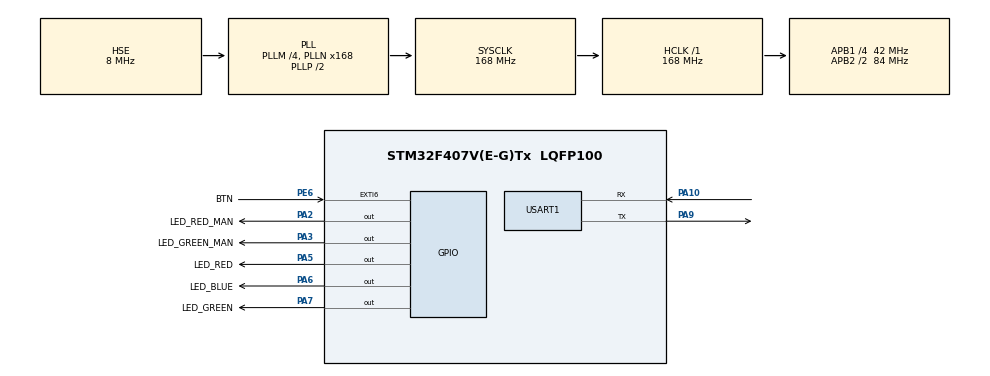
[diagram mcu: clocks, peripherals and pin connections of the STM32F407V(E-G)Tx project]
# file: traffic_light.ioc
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Mcu.Family=STM32F4
Mcu.Name=STM32F407V(E-G)Tx
Mcu.Package=LQFP100
NVIC.EXTI9_5_IRQn=true\:0\:0\:true\:false\:true\:true\:true\:true
NVIC.PriorityGroup=NVIC_PRIORITYGROUP_4
NVIC.USART1_IRQn=true\:0\:0\:false\:false\:true\:true\:true\:true
PA10.Mode=Asynchronous
PA10.Signal=USART1_RX
PA13.Mode=Serial_Wire
PA13.Signal=SYS_JTMS-SWDIO
PA14.Mode=Serial_Wire
PA14.Signal=SYS_JTCK-SWCLK
PA2.GPIO_Label=LED_RED_MAN
PA2.GPIO_PuPd=GPIO_PULLDOWN
PA2.Signal=GPIO_Output
PA3.GPIO_Label=LED_GREEN_MAN
PA3.GPIO_PuPd=GPIO_PULLDOWN
PA3.Signal=GPIO_Output
PA5.GPIO_Label=LED_RED
PA5.GPIO_PuPd=GPIO_PULLDOWN
PA5.Signal=GPIO_Output
PA6.GPIO_Label=LED_BLUE
PA6.GPIO_PuPd=GPIO_PULLDOWN
PA6.Signal=GPIO_Output
PA7.GPIO_Label=LED_GREEN
PA7.GPIO_PuPd=GPIO_PULLDOWN
PA7.Signal=GPIO_Output
PA9.Mode=Asynchronous
PA9.Signal=USART1_TX
PC14-OSC32_IN.Mode=LSE-External-Oscillator
PC14-OSC32_IN.Signal=RCC_OSC32_IN
PC15-OSC32_OUT.Mode=LSE-External-Oscillator
PC15-OSC32_OUT.Signal=RCC_OSC32_OUT
PE6.GPIO_Label=BTN
PE6.Signal=GPXTI6
PH0-OSC_IN.Mode=HSE-External-Oscillator
PH0-OSC_IN.Signal=RCC_OSC_IN
PH1-OSC_OUT.Mode=HSE-External-Oscillator
PH1-OSC_OUT.Signal=RCC_OSC_OUT
ProjectManager.HeapSize=0x200
ProjectManager.StackSize=0x400
ProjectManager.TargetToolchain=STM32CubeIDE
RCC.48MHZClocksFreq_Value=84000000
RCC.AHBFreq_Value=168000000
RCC.APB1CLKDivider=RCC_HCLK_DIV4
RCC.APB1Freq_Value=42000000
RCC.APB1TimFreq_Value=84000000
RCC.APB2CLKDivider=RCC_HCLK_DIV2
RCC.APB2Freq_Value=84000000
RCC.APB2TimFreq_Value=168000000
RCC.CortexFreq_Value=168000000
RCC.HCLKFreq_Value=168000000
RCC.HSE_VALUE=8000000
RCC.HSI_VALUE=16000000
RCC.PLLM=4
RCC.PLLN=168
RCC.PLLSourceVirtual=RCC_PLLSOURCE_HSE
RCC.SYSCLKFreq_VALUE=168000000
RCC.SYSCLKSource=RCC_SYSCLKSOURCE_PLLCLK
RCC.VCOOutputFreq_Value=336000000
USART1.VirtualMode=VM_ASYNC
board=custom

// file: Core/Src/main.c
/* USER CODE BEGIN Header */
/**
  ******************************************************************************
  * @file           : main.c
  * @brief          : Main program body
  ******************************************************************************
  * @attention
  *
  * Copyright (c) 2024 STMicroelectronics.
  * All rights reserved.
  *
  * This software is licensed under terms that can be found in the LICENSE file
  * in the root directory of this software component.
  * If no LICENSE file comes with this software, it is provided AS-IS.
  *
  ******************************************************************************
  */
/* USER CODE END Header */
#include "main.h"

/* USER CODE BEGIN Includes */
#include <stdio.h>
uint8_t TX_data[3];
uint8_t message1 [] = "\n\rService mode enable. \n\r";
uint8_t message2 [] = "\n\rService mode disable. \n\r";
/* USER CODE END Includes */

UART_HandleTypeDef huart1;

/* USER CODE BEGIN PV */
volatile int statusMode = 0;
int serviceMode = 0;
/* USER CODE END PV */

void SystemClock_Config(void);
static void MX_GPIO_Init(void);
static void MX_USART1_UART_Init(void);
/* USER CODE BEGIN PFP */
void semaforStatus1();
void semaforStatus2();
void semaforStatus3();
void semaforStatus4();
void semaforStatus5();
void semaforStatusB();
void semaforStatusAll();

/* USER CODE END PFP */

int main(void)
{

  /* MCU Configuration--------------------------------------------------------*/

  /* Reset of all peripherals, Initializes the Flash interface and the Systick. */
  HAL_Init();

  /* Configure the system clock */
  SystemClock_Config();

  /* Initialize all configured peripherals */
  MX_GPIO_Init();
  MX_USART1_UART_Init();
  /* USER CODE BEGIN 2 */
  HAL_UART_Receive_IT(&huart1, TX_data, 3);
  /* USER CODE END 2 */

  /* Infinite loop */
  while (1)
  {

    /* USER CODE BEGIN 3 */
	  if(serviceMode == 1)
	  {
		  semaforStatusAll();
	  }
	  else
	  {
		  semaforStatus1();
		  semaforStatus2();
		  semaforStatus3();
		  if(statusMode == 1)
		  {
		  	  semaforStatusB();
		  	  statusMode = 0;
		  }
		  else
		  {
		  	  semaforStatus4();
		  }

		  semaforStatus5();
	  }

  }
  /* USER CODE END 3 */
}

void SystemClock_Config(void)
{
  RCC_OscInitTypeDef RCC_OscInitStruct = {0};
  RCC_ClkInitTypeDef RCC_ClkInitStruct = {0};

  /** Configure the main internal regulator output voltage
  */
  __HAL_RCC_PWR_CLK_ENABLE();
  __HAL_PWR_VOLTAGESCALING_CONFIG(PWR_REGULATOR_VOLTAGE_SCALE1);

  /** Initializes the RCC Oscillators according to the specified parameters
  * in the RCC_OscInitTypeDef structure.
  */
  RCC_OscInitStruct.OscillatorType = RCC_OSCILLATORTYPE_HSE;
  RCC_OscInitStruct.HSEState = RCC_HSE_ON;
  RCC_OscInitStruct.PLL.PLLState = RCC_PLL_ON;
  RCC_OscInitStruct.PLL.PLLSource = RCC_PLLSOURCE_HSE;
  RCC_OscInitStruct.PLL.PLLM = 4;
  RCC_OscInitStruct.PLL.PLLN = 168;
  RCC_OscInitStruct.PLL.PLLP = RCC_PLLP_DIV2;
  RCC_OscInitStruct.PLL.PLLQ = 4;
  if (HAL_RCC_OscConfig(&RCC_OscInitStruct) != HAL_OK)
  {
    Error_Handler();
  }

  /** Initializes the CPU, AHB and APB buses clocks
  */
  RCC_ClkInitStruct.ClockType = RCC_CLOCKTYPE_HCLK|RCC_CLOCKTYPE_SYSCLK
                              |RCC_CLOCKTYPE_PCLK1|RCC_CLOCKTYPE_PCLK2;
  RCC_ClkInitStruct.SYSCLKSource = RCC_SYSCLKSOURCE_PLLCLK;
  RCC_ClkInitStruct.AHBCLKDivider = RCC_SYSCLK_DIV1;
  RCC_ClkInitStruct.APB1CLKDivider = RCC_HCLK_DIV4;
  RCC_ClkInitStruct.APB2CLKDivider = RCC_HCLK_DIV2;

  if (HAL_RCC_ClockConfig(&RCC_ClkInitStruct, FLASH_LATENCY_5) != HAL_OK)
  {
    Error_Handler();
  }
}

static void MX_USART1_UART_Init(void)
{

  huart1.Instance = USART1;
  huart1.Init.BaudRate = 115200;
  huart1.Init.WordLength = UART_WORDLENGTH_8B;
  huart1.Init.StopBits = UART_STOPBITS_1;
  huart1.Init.Parity = UART_PARITY_NONE;
  huart1.Init.Mode = UART_MODE_TX_RX;
  huart1.Init.HwFlowCtl = UART_HWCONTROL_NONE;
  huart1.Init.OverSampling = UART_OVERSAMPLING_16;
  if (HAL_UART_Init(&huart1) != HAL_OK)
  {
    Error_Handler();
  }

}

static void MX_GPIO_Init(void)
{
  GPIO_InitTypeDef GPIO_InitStruct = {0};

  /* GPIO Ports Clock Enable */
  __HAL_RCC_GPIOE_CLK_ENABLE();
  __HAL_RCC_GPIOC_CLK_ENABLE();
  __HAL_RCC_GPIOH_CLK_ENABLE();
  __HAL_RCC_GPIOA_CLK_ENABLE();

  /*Configure GPIO pin Output Level */
  HAL_GPIO_WritePin(GPIOA, LED_RED_MAN_Pin|LED_GREEN_MAN_Pin|LED_RED_Pin|LED_BLUE_Pin
                          |LED_GREEN_Pin, GPIO_PIN_RESET);

  /*Configure GPIO pin : BTN_Pin */
  GPIO_InitStruct.Pin = BTN_Pin;
  GPIO_InitStruct.Mode = GPIO_MODE_IT_RISING;
  GPIO_InitStruct.Pull = GPIO_NOPULL;
  HAL_GPIO_Init(BTN_GPIO_Port, &GPIO_InitStruct);

  /*Configure GPIO pins : LED_RED_MAN_Pin LED_GREEN_MAN_Pin LED_RED_Pin LED_BLUE_Pin
                           LED_GREEN_Pin */
  GPIO_InitStruct.Pin = LED_RED_MAN_Pin|LED_GREEN_MAN_Pin|LED_RED_Pin|LED_BLUE_Pin
                          |LED_GREEN_Pin;
  GPIO_InitStruct.Mode = GPIO_MODE_OUTPUT_PP;
  GPIO_InitStruct.Pull = GPIO_PULLDOWN;
  GPIO_InitStruct.Speed = GPIO_SPEED_FREQ_LOW;
  HAL_GPIO_Init(GPIOA, &GPIO_InitStruct);

  /* EXTI interrupt init*/
  HAL_NVIC_SetPriority(EXTI9_5_IRQn, 0, 0);
  HAL_NVIC_EnableIRQ(EXTI9_5_IRQn);

}

/* USER CODE BEGIN 4 */

void HAL_UART_RxCpltCallback(UART_HandleTypeDef *huart)
{
	if(huart->Instance == USART1)
	{
		if(TX_data[0] == '1')
		{
			serviceMode = 1;
			HAL_UART_Transmit_IT(&huart1, message1, 24);
		}
		else if (TX_data[0] == '0')
		{
			serviceMode = 0;
			HAL_UART_Transmit_IT(&huart1, message2, 24);
		}
		else
		{
			HAL_UART_Transmit_IT(&huart1, TX_data, 3);
		}
		HAL_UART_Receive_IT(&huart1, TX_data, 3);
	}
}
void semaforStatus1()
{
	HAL_GPIO_WritePin(GPIOA, LED_RED_Pin, GPIO_PIN_RESET);
	HAL_GPIO_WritePin(GPIOA, LED_BLUE_Pin, GPIO_PIN_RESET);
	HAL_GPIO_WritePin(GPIOA, LED_GREEN_Pin, GPIO_PIN_SET);
	HAL_GPIO_WritePin(GPIOA, LED_RED_MAN_Pin, GPIO_PIN_SET);
	HAL_GPIO_WritePin(GPIOA, LED_GREEN_MAN_Pin, GPIO_PIN_RESET);
	HAL_Delay(2000);
}

void semaforStatus2()
{
    for (int i = 0; i < 3; ++i)
    {
    	HAL_GPIO_WritePin(GPIOA, LED_RED_Pin, GPIO_PIN_RESET);
    	HAL_GPIO_WritePin(GPIOA, LED_BLUE_Pin, GPIO_PIN_RESET);
    	HAL_GPIO_WritePin(GPIOA, LED_GREEN_Pin, GPIO_PIN_RESET);
    	HAL_GPIO_WritePin(GPIOA, LED_RED_MAN_Pin, GPIO_PIN_SET);
    	HAL_GPIO_WritePin(GPIOA, LED_GREEN_MAN_Pin, GPIO_PIN_RESET);
    	HAL_Delay(400);
    	HAL_GPIO_WritePin(GPIOA, LED_RED_Pin, GPIO_PIN_RESET);
    	HAL_GPIO_WritePin(GPIOA, LED_BLUE_Pin, GPIO_PIN_RESET);
    	HAL_GPIO_WritePin(GPIOA, LED_GREEN_Pin, GPIO_PIN_SET);
    	HAL_GPIO_WritePin(GPIOA, LED_RED_MAN_Pin, GPIO_PIN_SET);
    	HAL_GPIO_WritePin(GPIOA, LED_GREEN_MAN_Pin, GPIO_PIN_RESET);
    	HAL_Delay(400);
    }
}

void semaforStatus3()
{
	HAL_GPIO_WritePin(GPIOA, LED_RED_Pin, GPIO_PIN_RESET);
	HAL_GPIO_WritePin(GPIOA, LED_BLUE_Pin, GPIO_PIN_SET);
	HAL_GPIO_WritePin(GPIOA, LED_GREEN_Pin, GPIO_PIN_RESET);
	HAL_GPIO_WritePin(GPIOA, LED_RED_MAN_Pin, GPIO_PIN_SET);
	HAL_GPIO_WritePin(GPIOA, LED_GREEN_MAN_Pin, GPIO_PIN_RESET);
	HAL_Delay(1000);
}

void semaforStatus4()
{
	HAL_GPIO_WritePin(GPIOA, LED_RED_Pin, GPIO_PIN_SET);
	HAL_GPIO_WritePin(GPIOA, LED_BLUE_Pin, GPIO_PIN_RESET);
	HAL_GPIO_WritePin(GPIOA, LED_GREEN_Pin, GPIO_PIN_RESET);
	HAL_GPIO_WritePin(GPIOA, LED_RED_MAN_Pin, GPIO_PIN_RESET);
	HAL_GPIO_WritePin(GPIOA, LED_GREEN_MAN_Pin, GPIO_PIN_SET);
	HAL_Delay(2000);
}

void semaforStatus5()
{
	HAL_GPIO_WritePin(GPIOA, LED_RED_Pin, GPIO_PIN_SET);
	HAL_GPIO_WritePin(GPIOA, LED_BLUE_Pin, GPIO_PIN_SET);
	HAL_GPIO_WritePin(GPIOA, LED_GREEN_Pin, GPIO_PIN_RESET);
	HAL_GPIO_WritePin(GPIOA, LED_RED_MAN_Pin, GPIO_PIN_SET);
	HAL_GPIO_WritePin(GPIOA, LED_GREEN_MAN_Pin, GPIO_PIN_RESET);
	HAL_Delay(1500);
}

void semaforStatusB()
{
	for (int i = 0; i < 5; ++i) {
	HAL_GPIO_WritePin(GPIOA, LED_RED_Pin, GPIO_PIN_RESET);
	HAL_GPIO_WritePin(GPIOA, LED_BLUE_Pin, GPIO_PIN_RESET);
	HAL_GPIO_WritePin(GPIOA, LED_GREEN_Pin, GPIO_PIN_RESET);
	HAL_GPIO_WritePin(GPIOA, LED_RED_MAN_Pin, GPIO_PIN_RESET);
	HAL_GPIO_WritePin(GPIOA, LED_GREEN_MAN_Pin, GPIO_PIN_SET);
	HAL_Delay(500);
	HAL_GPIO_WritePin(GPIOA, LED_RED_Pin, GPIO_PIN_SET);
	HAL_GPIO_WritePin(GPIOA, LED_BLUE_Pin, GPIO_PIN_RESET);
	HAL_GPIO_WritePin(GPIOA, LED_GREEN_Pin, GPIO_PIN_RESET);
	HAL_GPIO_WritePin(GPIOA, LED_RED_MAN_Pin, GPIO_PIN_RESET);
	HAL_GPIO_WritePin(GPIOA, LED_GREEN_MAN_Pin, GPIO_PIN_RESET);
	HAL_Delay(500);
	}
}

void semaforStatusAll()
{
	HAL_GPIO_WritePin(GPIOA, LED_RED_Pin, GPIO_PIN_SET);
	HAL_GPIO_WritePin(GPIOA, LED_BLUE_Pin, GPIO_PIN_SET);
	HAL_GPIO_WritePin(GPIOA, LED_GREEN_Pin, GPIO_PIN_SET);
	HAL_GPIO_WritePin(GPIOA, LED_RED_MAN_Pin, GPIO_PIN_SET);
	HAL_GPIO_WritePin(GPIOA, LED_GREEN_MAN_Pin, GPIO_PIN_SET);
}

/* USER CODE END 4 */

void Error_Handler(void)
{
  __disable_irq();
  while (1)
  {
  }
}
